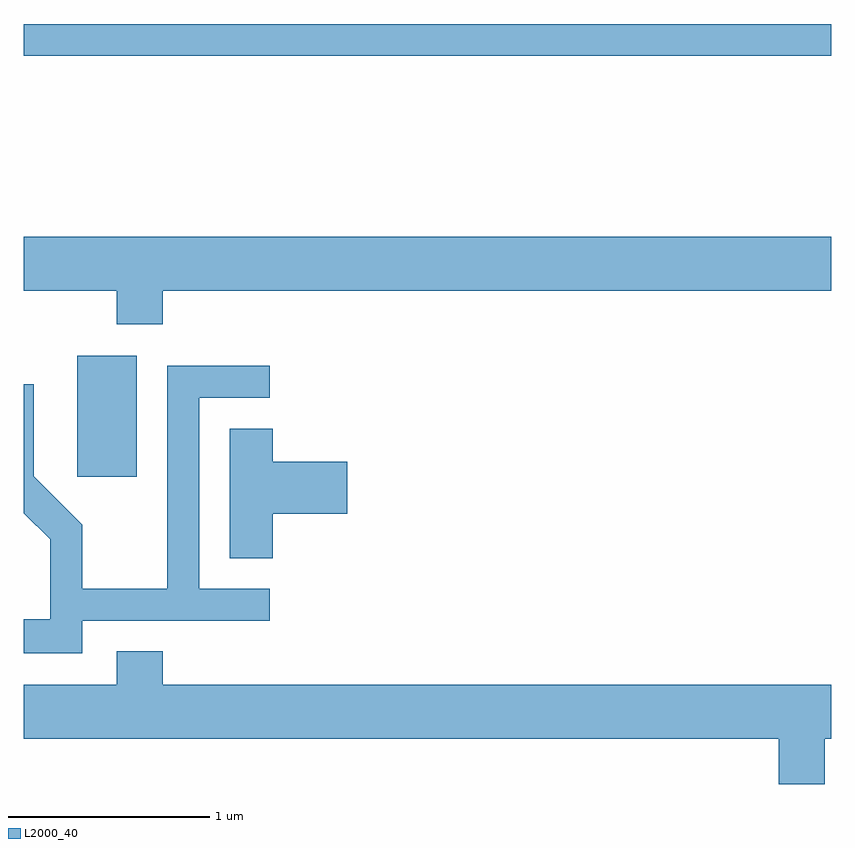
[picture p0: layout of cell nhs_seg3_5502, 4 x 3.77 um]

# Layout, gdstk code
import gdstk
lib = gdstk.Library(unit=1e-6, precision=1e-09)
def R(c, l, rs):  # rectangles x0, y0, x1, y1
    for r in rs: c.add(gdstk.rectangle(r[:2], r[2:], *l))
def P(c, l, *ps):  # polygons
    for p in ps: c.add(gdstk.Polygon(p, *l))
L2000_40 = (2000, 40)

nhs_seg3_5502 = lib.new_cell('nhs_seg3_5502')
R(nhs_seg3_5502, L2000_40, [(345.876,1249.416,346.169,1250.014), (345.611,1251.501,349.611,1251.659)])
P(nhs_seg3_5502, L2000_40, [(346.299,1250.336),(349.611,1250.336),(349.611,1250.604),(345.611,1250.604),(345.611,1250.336),(346.071,1250.336),(346.071,1250.171),(346.299,1250.171)],
  [(345.899,1248.701),(346.828,1248.701),(346.828,1248.859),(346.479,1248.859),(346.479,1249.806),(346.828,1249.806),(346.828,1249.964),(346.321,1249.964),(346.321,1248.859),(345.899,1248.859),(345.899,1249.177),(345.659,1249.417),(345.659,1249.873),(345.611,1249.873),(345.611,1249.234),(345.741,1249.104),(345.741,1248.709),(345.611,1248.709),(345.611,1248.541),(345.899,1248.541)],
  [(346.844,1249.231),(347.214,1249.231),(347.214,1249.489),(346.844,1249.489),(346.844,1249.654),(346.631,1249.654),(346.631,1249.011),(346.844,1249.011)],
  [(349.579,1248.116),(349.611,1248.116),(349.611,1248.384),(346.299,1248.384),(346.299,1248.549),(346.071,1248.549),(346.071,1248.384),(345.611,1248.384),(345.611,1248.116),(349.351,1248.116),(349.351,1247.892),(349.579,1247.892)])

lib.write_gds('nhs_seg3_5502.gds')
